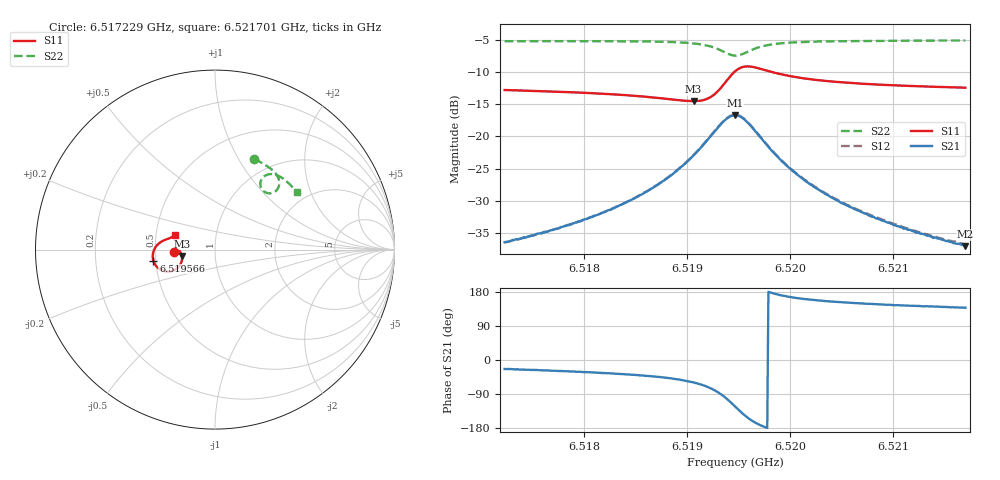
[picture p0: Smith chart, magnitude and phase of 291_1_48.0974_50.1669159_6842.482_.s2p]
#  HZ  S  RI  R  50.00
! Rohde & Schwarz Vector Network Analyzer
! Rohde-Schwarz,ZNB20-2Port,1311601062101988,3.16
! Created: UTC 12/23/2023, 4:03:45 AM
! freq[Hz]  re:S11  im:S11  re:S21  im:S21  re:S12  im:S12  re:S22  im:S22
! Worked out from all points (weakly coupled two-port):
!   401 points, 6.517229 GHz to 6.521701 GHz, reference 50 ohm
!   highest |S21| = -16.72 dB at 6.519465 GHz (marker M1); lowest = -37.1 dB at 6.521701 GHz (marker M2)
!   lowest |S11| = -14.5 dB at 6.519063 GHz (marker M3), VSWR 1.46, Z = 34.4 - j2.5 ohm
!   |S11| at or under -10 dB: start of sweep to 6.519458 GHz; 6.519824 GHz to end of sweep
!   |S22| runs from -7.5 to -5.1 dB; largest |S21 - S12| = 0.0046
!   S11 on the Smith chart (normalised r, x): 6.517229 GHz: 0.63, -0.02; 6.519566 GHz: 0.49, -0.07; 6.521701 GHz: 0.63, +0.11
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6.5172289e9  -0.2287 -0.0123  0.0138 -0.00604  0.014 -0.00546  0.2195 0.5028
6.5175867e9  -0.2244 -0.00738  0.0158 -0.00816  0.016 -0.00739  0.2458 0.491
6.517978e9  -0.2183 -0.00332  0.0188 -0.0115  0.0192 -0.0109  0.2746 0.4753
6.5184029e9  -0.209 -0.00227  0.0241 -0.0188  0.0248 -0.018  0.3067 0.4538
6.5187271e9  -0.1983 -0.00803  0.0304 -0.0301  0.0314 -0.0292  0.332 0.4307
6.5188948e9  -0.1912 -0.0168  0.0341 -0.0415  0.0355 -0.0406  0.3451 0.4137
6.5190625e9  -0.1843 -0.0352  0.0363 -0.0611  0.0384 -0.0604  0.356 0.3889
6.5191631e9  -0.1838 -0.0551  0.0335 -0.0803  0.0361 -0.0799  0.3584 0.3678
6.5192526e9  -0.1918 -0.0807  0.0223 -0.1034  0.0256 -0.1035  0.3523 0.344
6.5193756e9  -0.2376 -0.1188  -0.0239 -0.1332  -0.0201 -0.135  0.3163 0.315
6.5194203e9  -0.2669 -0.1227  -0.0511 -0.1337  -0.0476 -0.1361  0.2945 0.3144
6.519465e9  -0.2986 -0.1147  -0.0784 -0.123  -0.0753 -0.1264  0.2735 0.3236
6.5195097e9  -0.3249 -0.095  -0.0998 -0.1028  -0.0975 -0.1065  0.2585 0.341
6.5195656e9  -0.3435 -0.0617  -0.1123 -0.0717  -0.1112 -0.0755  0.2525 0.367
6.5196774e9  -0.3406 -0.00414  -0.1035 -0.0227  -0.1037 -0.026  0.27 0.4048
6.5197893e9  -0.3206 0.0267  -0.0827 0.000381  -0.0837 -0.00196  0.2962 0.4189
6.5200129e9  -0.2883 0.0498  -0.0532 0.0135  -0.0543 0.0122  0.3357 0.4177
6.5202141e9  -0.2707 0.0571  -0.0388 0.0151  -0.0395 0.0141  0.3596 0.4081
6.5205048e9  -0.2551 0.0628  -0.0267 0.014  -0.0278 0.0136  0.3855 0.3913
6.5209632e9  -0.2404 0.0694  -0.0177 0.012  -0.0181 0.0117  0.4166 0.3639
6.5212092e9  -0.2347 0.0727  -0.0145 0.0109  -0.015 0.0108  0.4306 0.349
6.5217011e9  -0.2254 0.0793  -0.0104 0.00938  -0.011 0.00934  0.4557 0.3185
